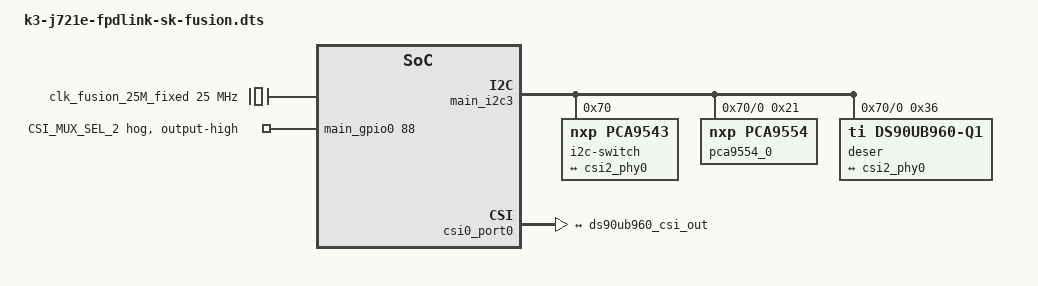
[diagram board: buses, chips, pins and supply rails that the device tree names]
// SPDX-License-Identifier: GPL-2.0
/*
 * Copyright (C) 2021 Texas Instruments Incorporated - http://www.ti.com/
 */

/dts-v1/;
/plugin/;

#include <dt-bindings/gpio/gpio.h>
#include <dt-bindings/interrupt-controller/irq.h>
#include <dt-bindings/pinctrl/k3.h>

/ {
	fragment@101 {
		target-path = "/";

		__overlay__ {
			clk_fusion_25M_fixed: fixed-clock-25M {
				compatible = "fixed-clock";
				#clock-cells = <0>;
				clock-frequency = <25000000>;
			};
		};
	};
};

&main_pmx0 {
	main_rpi_cam0_pins_default: main-rpi-cam0-pins-default {
		pinctrl-single,pins = <
			J721E_IOPAD(0x1D4, PIN_OUTPUT, 7) /* (Y3) SPI1_CS0 */
			J721E_IOPAD(0x1D8, PIN_OUTPUT, 7) /* (W4) SPI1_CS1 */
		>;
	};

	main_csi_mux_sel2_pins_default: main-csi-mux-sel2-pins-default {
		pinctrl-single,pins = <
			J721E_IOPAD(0x164, PIN_OUTPUT, 7) /* (V29) RGMII5_TD2 */
		>;
	};
};

&main_gpio0 {
	pinctrl-names = "default";
	pinctrl-0 = <&main_csi_mux_sel2_pins_default>;

	csi-mux-hog {
		/* CSI_MUX_SEL_2 */
		gpio-hog;
		gpios = <88 GPIO_ACTIVE_HIGH>;
		output-high;
		line-name = "CSI_MUX_SEL_2";
	};
};

&main_i2c3 {
	#address-cells = <1>;
	#size-cells = <0>;

	i2c-switch@70 {
		compatible = "nxp,pca9543";
		#address-cells = <1>;
		#size-cells = <0>;
		reg = <0x70>;

		cam0_i2c: i2c@0 {
			#address-cells = <1>;
			#size-cells = <0>;
			reg = <0>;

			pca9554_0: pca9554_0@21 {
				compatible = "nxp,pca9554";
				reg = <0x21>;
				gpio-controller;
				#gpio-cells = <2>;
				status = "okay";
			};

			deser@36 {
				compatible = "ti,ds90ub960-q1";

				reg-names = "main", "ser0", "ser1", "ser2", "ser3";
				reg       = <0x36>, <0x54>, <0x55>, <0x56>, <0x57>;

				clocks = <&clk_fusion_25M_fixed>;

				i2c-alias-pool = /bits/ 16 <0x5a 0x5b 0x5c 0x5d 0x5e 0x5f 0x60 0x61 0x62 0x63 0x64 0x65 0x66 0x67 0x68 0x69>;

				data-rate = <1600000000>;

				status = "okay";

				ds90ub960_ports: ports {
					#address-cells = <1>;
					#size-cells = <0>;

					/* CSI-2 */
					port@4 {
						reg = <4>;
						ds90ub960_csi_out: endpoint {
							clock-lanes = <0>;
							data-lanes = <1 2>;
							remote-endpoint = <&csi2_phy0>;
						};
					};
				};

				ds90ub960_atr: i2c-atr {
					#address-cells = <1>;
					#size-cells = <0>;
				};
			};
		};
	};
};

&csi0_port0 {
	status = "okay";

	csi2_phy0: endpoint {
		remote-endpoint = <&ds90ub960_csi_out>;
		clock-lanes = <0>;
		bus-type = <4>; /* CSI2 DPHY. */
		data-lanes = <1 2>;
	};
};

&csi1_port0 {
	status = "disabled";
};
